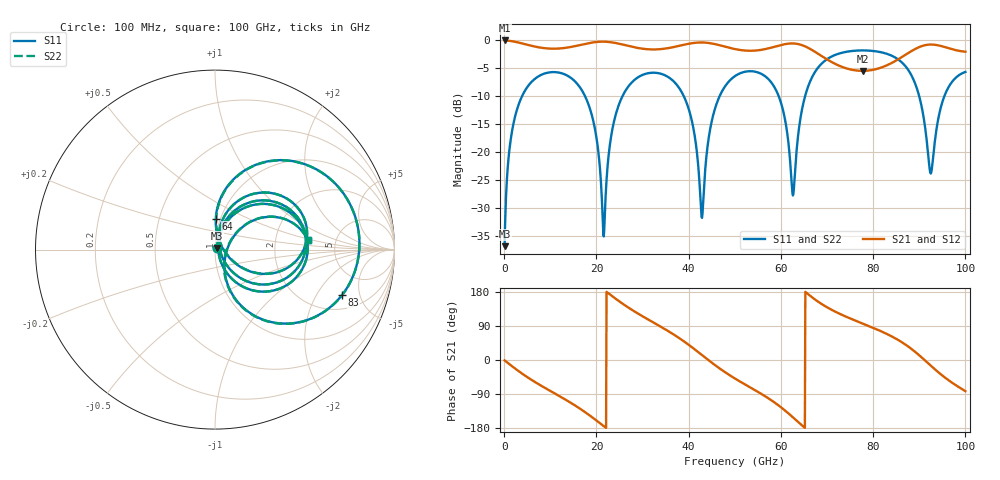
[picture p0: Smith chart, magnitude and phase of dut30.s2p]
! Touchstone file exported from HFSS 2026.1.0
!  File:  C:/ffzhzh/LocalFiles/Ansys_Project_Files/temp_train_TSV_RDL_30_1783440578_41684.aedt
!  Generated:  12:20:43 AM Jul  8, 2026
!  Design:  TSV_RDL
!  Project:  temp_train_TSV_RDL_30_1783440578_41684
! Variables:
!  h_bsmrdl = 4.41um
!  h_ox = 20um
!  h_rdl = 5um
!  h_sub = 66.47um
!  h_tmrdl = 3.81um
!  h_tsv = 66.47um
!  h_via = 3um
!  l_bsmrdl = 275.13um
!  l_sub = 2781.2um
!  l_tmrdl = 350.56um
!  m_sub = 200um
!  pitch = 53.36um
!  r_tsv = 6.17um
!  s_tmrdl = 10um
!  w_bsmrdl = 28.86um
!  w_sub = 500um
!  w_tmrdl = 22.33um
!  x_tsv_center1 = 361.725um
!  x_tsv_center2 = 665.715um
!  x_tsv_center3 = 1038.605um
!  x_tsv_center4 = 1342.595um
!  x_tsv_center5 = 1715.485um
!  x_tsv_center6 = 2019.475um
# GHz S MA R 50.000000
! Terminal data exported
! Port[1] = TM_RDL1_1_T1
! Port[2] = TM_RDL5_1_T1
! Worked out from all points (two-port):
!   1000 points, 100 MHz to 100 GHz, reference 50 ohm
!   highest |S21| = -0.09 dB at 100 MHz (marker M1); lowest = -5.5 dB at 77.7 GHz (marker M2)
!   |S21| within 3 dB of the highest: start of sweep to 69.26 GHz; 86.14 GHz to end of sweep
!   lowest |S11| = -36.8 dB at 100 MHz (marker M3), VSWR 1.03, Z = 51.1 + j0.999 ohm
!   |S11| at or under -10 dB: 17.53 GHz to 25.67 GHz (8.145 GHz wide, 37.7 % of centre); 38.93 GHz to 46.73 GHz (7.797 GHz wide, 18.2 % of centre); 59.51 GHz to 65.25 GHz (5.743 GHz wide, 9.21 % of centre) (the widest 3 of 5)
!   |S22| runs from -36.8 to -1.9 dB; largest |S21 - S12| = 1.3e-13
!   S11 on the Smith chart (normalised r, x): 100 MHz: 1.02, +0.02; 64 GHz: 0.95, +0.34; 83 GHz: 2.90, -3.38; 100 GHz: 3.08, +0.46
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0.1  0.01453 42.3  0.9894 -1.0  0.9894 -1.0  0.01453 42.3
! Gamma 0 0 0 0
! Port Impedance 50 0 50 0
1.5  0.1363 69.7  0.9769 -14.4  0.9769 -14.4  0.1363 69.7
4.4  0.3466 46.9  0.9197 -40.2  0.9197 -40.2  0.3466 46.9
16.8  0.3587 -40.8  0.9078 -131.3  0.9078 -131.3  0.3586 -40.8
19.7  0.1599 -62.1  0.9558 -156.7  0.9558 -156.7  0.1599 -62.2
21.6  0.01773 10.4  0.965 -174.5  0.965 -174.5  0.01745 10.5
25.1  0.28 59.3  0.9217 153.5  0.9217 153.5  0.28 59.3
33.4  0.5061 1.2  0.825 91.7  0.825 91.7  0.5061 1.2
39.8  0.2578 -44.1  0.9211 42.0  0.9211 42.0  0.2579 -44.0
42.9  0.02597 17.6  0.9493 13.0  0.9493 13.0  0.0262 17.4
45.4  0.2201 72.3  0.9233 -10.6  0.9233 -10.6  0.2201 72.2
50.1  0.4779 38.5  0.8282 -49.3  0.8282 -49.3  0.4778 38.6
58.7  0.373 -19.5  0.8714 -112.8  0.8714 -112.8  0.3731 -19.3
62.6  0.04108 23.8  0.9306 -151.2  0.9306 -151.2  0.04309 24.0
64  0.1726 88.6  0.9134 -166.4  0.9134 -166.4  0.1732 87.9
66.7  0.4601 70.5  0.8155 166.0  0.8155 166.0  0.4603 70.2
77.7  0.8065 6.1  0.5302 96.3  0.5302 96.3  0.8065 5.9
83  0.7515 -19.7  0.5948 68.6  0.5948 68.6  0.7515 -19.9
83.4  0.7415 -21.9  0.6053 66.2  0.6053 66.2  0.7415 -22.1
89.2  0.3991 -61.4  0.8339 20.6  0.8339 20.6  0.3989 -61.7
92.5  0.06452 -13.5  0.9099 -15.0  0.9099 -15.0  0.06233 -13.6
100  0.5187 6.0  0.7855 -82.2  0.7855 -82.2  0.5185 6.1
